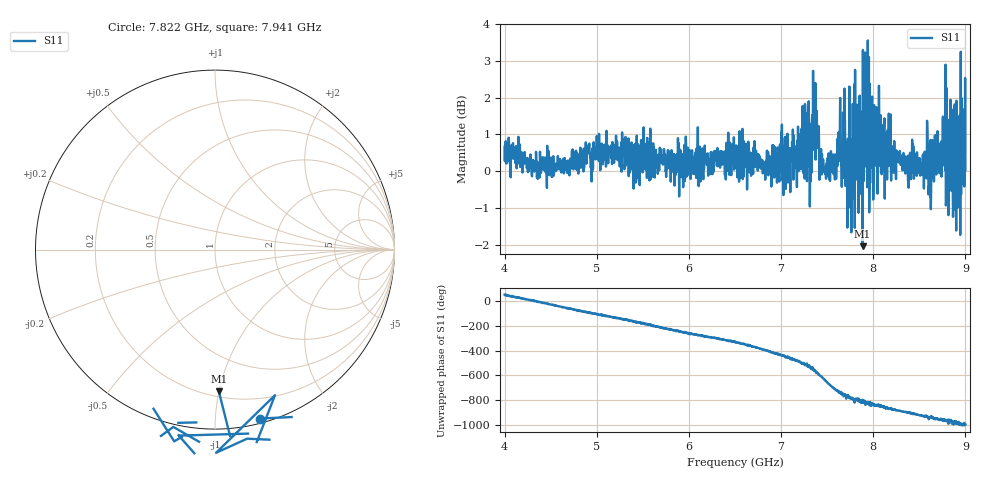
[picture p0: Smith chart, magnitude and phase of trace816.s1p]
! Created with skrf 1.8.0 (http://scikit-rf.org).
# Hz S RI R 50.0
!freq ReS11 ImS11
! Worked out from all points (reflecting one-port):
!   1601 points, 4 GHz to 9 GHz, reference 50 ohm
!   lowest |S11| = -2.0 dB at 7.884 GHz (marker M1), VSWR 8.53, Z = 11.9 - j49.9 ohm
!   phase of S11 starts at 52 deg and turns -1049 deg over the sweep
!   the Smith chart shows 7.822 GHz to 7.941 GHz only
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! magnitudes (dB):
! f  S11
! 4 GHz  0.3
! 4.625 GHz  0.0
! 5.25 GHz  0.1
! 5.875 GHz  0.3
! 6.5 GHz  0.4
! 6.806 GHz  0.0
! 7.125 GHz  0.5
! 7.284 GHz  1.6
! 7.306 GHz  1.2
! 7.362 GHz  1.7
! 7.462 GHz  0.1
! 7.575 GHz  0.1
! 7.666 GHz  -0.2
! 7.75 GHz  -1.0
! 7.884 GHz  -2.0
! 7.909 GHz  1.4
! 7.928 GHz  0.5
! 7.941 GHz  3.6
! 7.962 GHz  2.4
! 7.981 GHz  0.6
! 8.047 GHz  -0.6
! 8.109 GHz  1.3
! 8.375 GHz  0.1
! 8.622 GHz  0.8
! 8.822 GHz  1.4
! 8.875 GHz  0.9
! 8.972 GHz  0.6
! 9 GHz  0.0
